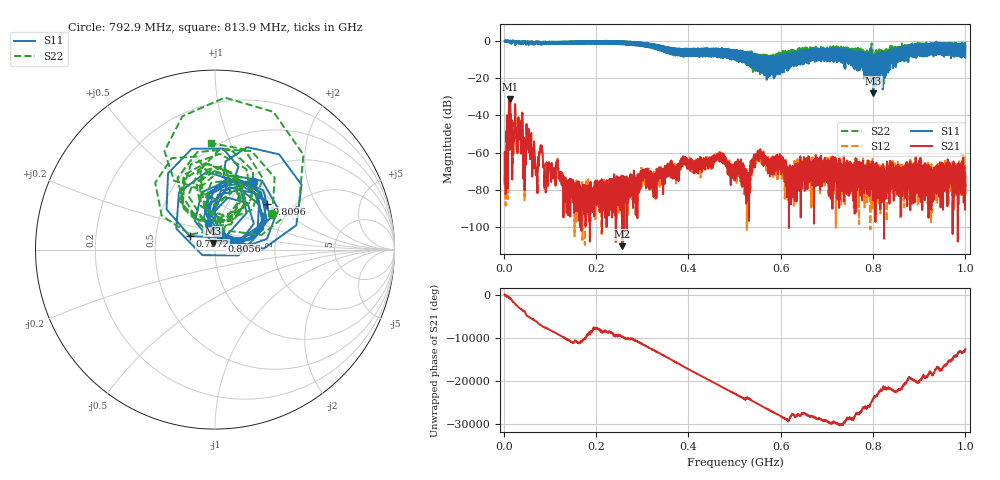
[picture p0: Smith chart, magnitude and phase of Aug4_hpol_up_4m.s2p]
!Keysight Technologies N9923A: A.12.45
!Date: Tuesday, 05 August 2025 19:54:48
!Timezone: (UTC+08:00) Kuala Lumpur, Singapore
!Model: N9923A
!Serial: MY61181427
!GPS Latitude:
!GPS Longitude:
!GPS TimeStamp: 0001-01-01 00:00:00Z
!GPS Seconds Since Last Read: 0
!CHECKSUM:0540262124
!Correction: S11(ON U)S21(ON U)S12(ON U)S22(ON U)
!S2P File: Measurements:S11,S21,S12,S22:
# Hz S DB R 50
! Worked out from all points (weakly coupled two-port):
!   4001 points, 2 MHz to 1 GHz, reference 50 ohm
!   highest |S21| = -31.28 dB at 13.98 MHz (marker M1); lowest = -110.3 dB at 257.2 MHz (marker M2)
!   lowest |S11| = -28.3 dB at 800.6 MHz (marker M3), VSWR 1.08, Z = 48.6 + j3.56 ohm
!   |S11| at or under -10 dB: 552.3119 MHz to 553.2549 MHz (943 kHz wide, 0.171 % of centre); 570.838 MHz to 571.8621 MHz (1.024 MHz wide, 0.179 % of centre); 801.4037 MHz to 802.7965 MHz (1.393 MHz wide, 0.174 % of centre)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
!   |S22| runs from -23.0 to 0.1 dB; largest |S21 - S12| = 0.0012
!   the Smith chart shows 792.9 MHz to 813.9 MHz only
!   S11 on the Smith chart (normalised r, x): 792.9 MHz: 1.07, +0.99; 797.2 MHz: 0.75, +0.12; 805.6 MHz: 1.07, +0.10; 809.6 MHz: 1.49, +0.90; 813.9 MHz: 0.89, +0.27
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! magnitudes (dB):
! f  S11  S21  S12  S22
! 2 MHz  -0.1  -76.7  -75.9  -0.1
! 13.98 MHz  -0.9  -31.3  -31.1  -1.3
! 36.68 MHz  -1.1  -43.3  -43.2  -0.5
! 71.86 MHz  -0.5  -74.0  -72.4  -0.4
! 79.84 MHz  -1.6  -56.2  -56.3  -1.4
! 91.32 MHz  -1.8  -73.6  -76.8  -1.5
! 168.4 MHz  -1.6  -83.5  -80.2  -1.3
! 257.2 MHz  -1.6  -110.3  -78.9  -0.9
! 334.8 MHz  -4.1  -73.0  -75.8  -5.0
! 469.3 MHz  -4.6  -61.2  -62.5  -5.5
! 501 MHz  -7.0  -68.3  -68.0  -9.1
! 527.9 MHz  -8.2  -76.4  -79.0  -11.1
! 554.1 MHz  -12.2  -61.5  -62.7  -8.4
! 667.4 MHz  -10.5  -73.5  -71.7  -5.6
! 792.9 MHz  -7.3  -71.7  -82.2  -8.5
! 797.2 MHz  -15.9  -66.2  -73.7  -2.3
! 800.6 MHz  -28.3  -74.4  -73.5  -8.2
! 805.6 MHz  -24.5  -72.5  -73.4  -9.0
! 809.6 MHz  -8.2  -81.2  -79.8  -14.7
! 813.9 MHz  -16.4  -68.9  -76.8  -4.5
! 833.8 MHz  -7.1  -68.4  -74.7  -5.4
! 1 GHz  -2.8  -82.0  -72.2  -6.4
